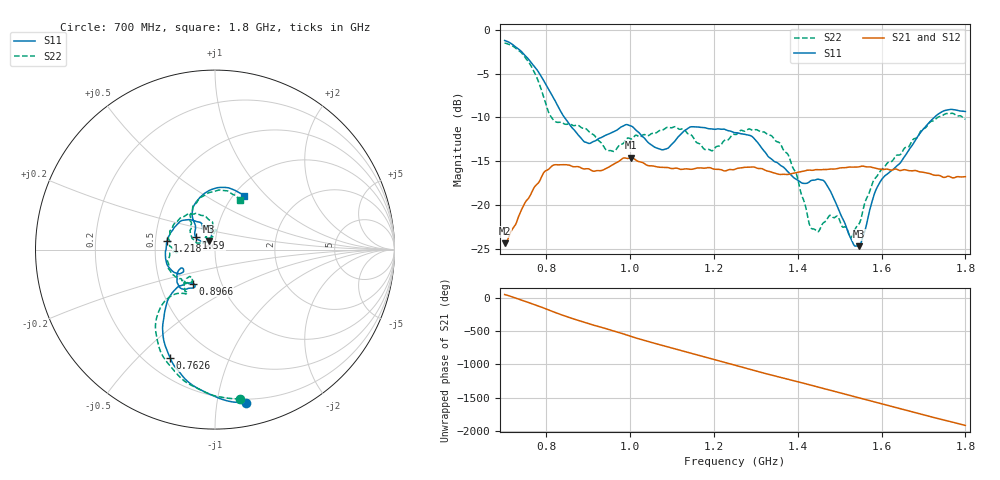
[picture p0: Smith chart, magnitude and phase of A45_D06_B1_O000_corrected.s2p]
! Created with skrf 1.9.0 (http://scikit-rf.org).
# Hz S RI R 50.0
!freq ReS11 ImS11 ReS21 ImS21 ReS12 ImS12 ReS22 ImS22
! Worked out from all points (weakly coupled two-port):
!   1601 points, 700 MHz to 1.8 GHz, reference 50 ohm
!   highest |S21| = -14.59 dB at 1.002 GHz (marker M1); lowest = -24.4 dB at 700.7 MHz (marker M2)
!   lowest |S11| = -24.7 dB at 1.546 GHz (marker M3), VSWR 1.12, Z = 46.6 + j4.46 ohm
!   |S11| at or under -10 dB: 843 MHz to 1.726 GHz (882.5 MHz wide, 68.7 % of centre)
!   |S22| runs from -23.7 to -1.5 dB; largest |S21 - S12| = 0.0035
!   S11 on the Smith chart (normalised r, x): 700 MHz: 0.17, -1.21; 762.6 MHz: 0.30, -0.63; 896.6 MHz: 0.73, -0.29; 1.218 GHz: 0.58, +0.06; 1.59 GHz: 0.80, +0.11; 1.8 GHz: 1.12, +0.76
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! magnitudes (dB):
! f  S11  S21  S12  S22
! 700 MHz  -1.2  -24.4  -24.2  -1.5
! 700.7 MHz  -1.2  -24.4  -24.1  -1.5
! 762.6 MHz  -3.7  -18.8  -18.7  -4.1
! 814.8 MHz  -7.6  -15.5  -15.5  -10.2
! 883.6 MHz  -12.4  -15.8  -15.7  -11.2
! 896.6 MHz  -12.9  -15.8  -15.9  -11.4
! 947.5 MHz  -11.9  -15.7  -15.7  -13.8
! 1.002 GHz  -11.0  -14.6  -14.7  -12.4
! 1.067 GHz  -13.6  -15.7  -15.6  -11.6
! 1.144 GHz  -11.1  -15.9  -15.9  -12.0
! 1.218 GHz  -11.3  -16.0  -16.0  -13.0
! 1.25 GHz  -11.7  -15.9  -15.8  -11.9
! 1.357 GHz  -15.4  -16.5  -16.5  -12.9
! 1.396 GHz  -17.0  -16.3  -16.3  -16.4
! 1.434 GHz  -17.2  -16.0  -16.0  -22.7
! 1.467 GHz  -17.5  -15.9  -15.9  -21.8
! 1.527 GHz  -23.9  -15.7  -15.6  -23.7
! 1.546 GHz  -24.7  -15.6  -15.6  -22.2
! 1.59 GHz  -18.0  -15.8  -15.8  -16.7
! 1.617 GHz  -16.3  -15.9  -15.9  -15.1
! 1.732 GHz  -9.7  -16.6  -16.6  -10.1
! 1.8 GHz  -9.3  -16.8  -16.8  -10.2
